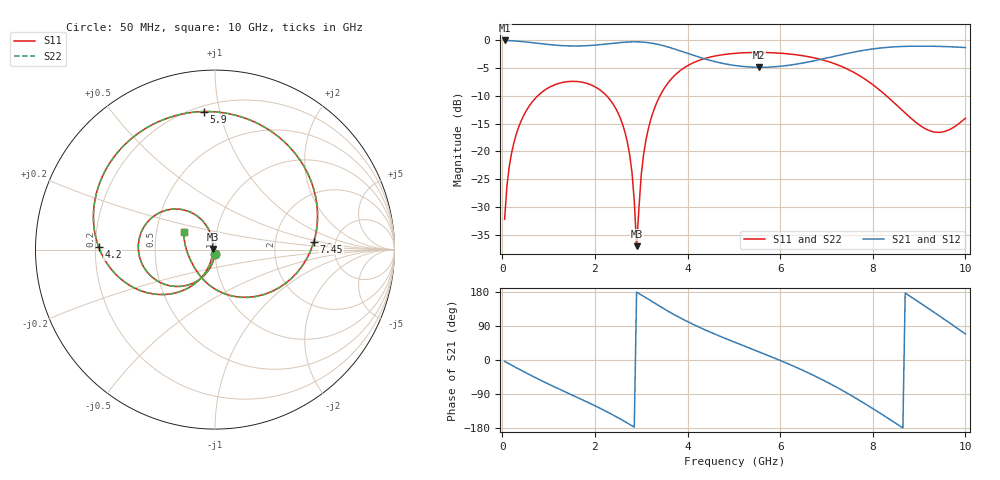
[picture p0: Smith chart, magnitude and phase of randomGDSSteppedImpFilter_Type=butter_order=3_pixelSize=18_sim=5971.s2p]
! freq	dB(S11)	phase(S11)	dB(S12)	phase(S12)
!  dB(S21)	phase(S21)	dB(S22)	phase(S22)
!S-par simulation data
#  GHz  S  DB  R 50
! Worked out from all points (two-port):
!   200 points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, 50 MHz to 10 GHz, reference 50 ohm
!   highest |S21| = -0.01 dB at 50 MHz (marker M1); lowest = -4.8 dB at 5.55 GHz (marker M2)
!   |S21| within 3 dB of the highest: start of sweep to 4.245 GHz; 7.091 GHz to end of sweep
!   lowest |S11| = -37.1 dB at 2.9 GHz (marker M3), VSWR 1.03, Z = 48.7 + j0.35 ohm
!   |S11| at or under -10 dB: start of sweep to 764.8 MHz; 2.255 GHz to 3.404 GHz (1.149 GHz wide, 40.6 % of centre); 8.296 GHz to end of sweep
!   |S22| runs from -37.5 to -2.2 dB; largest |S21 - S12| = 0
!   S11 on the Smith chart (normalised r, x): 50 MHz: 1.00, -0.05; 4.2 GHz: 0.21, +0.01; 5.9 GHz: 0.24, +0.89; 7.45 GHz: 3.41, +0.43; 10 GHz: 0.69, +0.14
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0.05  -32.22 -93.3  -0.01 -3.4  -0.01 -3.4  -32.22 -93.3
0.2  -20.32 -103.8  -0.06 -13.5  -0.06 -13.5  -20.33 -103.8
0.5  -12.93 -123.6  -0.27 -33.1  -0.27 -33.1  -12.93 -123.6
1.1  -8.11 -159.9  -0.82 -69.5  -0.82 -69.5  -8.11 -159.9
1.75  -7.58 163.8  -0.98 -106.2  -0.98 -106.2  -7.58 163.7
2.6  -15.19 113.3  -0.35 -159.2  -0.35 -159.2  -15.19 113.0
2.8  -23.76 105.6  -0.26 -173.5  -0.26 -173.5  -23.78 104.7
2.9  -37.07 165.1  -0.26 179.1  -0.26 179.1  -37.54 164.5
3.05  -20.62 -109.9  -0.32 167.9  -0.32 167.9  -20.63 -109.4
3.4  -10.06 -130.9  -0.79 141.7  -0.79 141.7  -10.06 -130.8
4.2  -3.76 178.6  -2.89 89.5  -2.89 89.5  -3.76 178.6
5.05  -2.31 135.4  -4.56 45.4  -4.56 45.4  -2.31 135.3
5.55  -2.17 111.7  -4.84 21.2  -4.84 21.2  -2.17 111.5
5.9  -2.25 94.6  -4.74 4.0  -4.74 4.0  -2.25 94.5
6.7  -3.08 51.9  -3.73 -39.3  -3.73 -39.3  -3.08 51.7
7.45  -5.16 4.6  -2.34 -87.6  -2.34 -87.6  -5.16 4.2
7.9  -7.37 -27.4  -1.66 -120.5  -1.66 -120.5  -7.38 -27.8
8.35  -10.40 -61.3  -1.23 -155.4  -1.23 -155.4  -10.40 -61.8
8.7  -13.09 -89.2  -1.07 176.7  -1.07 176.7  -13.09 -89.6
9.05  -15.49 -119.4  -1.03 148.4  -1.03 148.4  -15.49 -119.7
9.55  -16.41 -167.3  -1.11 107.0  -1.11 107.0  -16.41 -167.1
10  -14.03 150.8  -1.29 68.7  -1.29 68.7  -14.04 151.0
